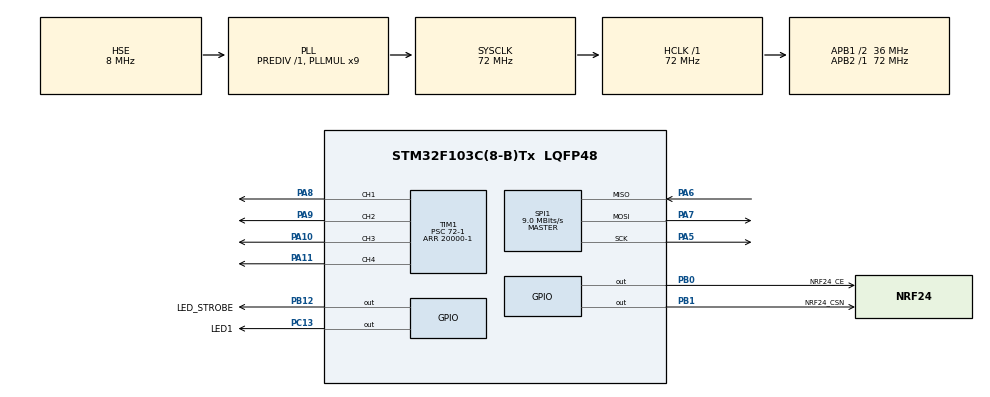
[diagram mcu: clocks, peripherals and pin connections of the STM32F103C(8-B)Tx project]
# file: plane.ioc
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Mcu.Family=STM32F1
Mcu.Name=STM32F103C(8-B)Tx
Mcu.Package=LQFP48
NVIC.PriorityGroup=NVIC_PRIORITYGROUP_4
NVIC.SPI1_IRQn=true\:0\:0\:false\:false\:true\:true\:true
NVIC.TIM3_IRQn=true\:0\:0\:false\:false\:true\:true\:true
PA10.Signal=S_TIM1_CH3
PA11.Signal=S_TIM1_CH4
PA13.Mode=Serial_Wire
PA13.Signal=SYS_JTMS-SWDIO
PA14.Mode=Serial_Wire
PA14.Signal=SYS_JTCK-SWCLK
PA5.Mode=Full_Duplex_Master
PA5.Signal=SPI1_SCK
PA6.Mode=Full_Duplex_Master
PA6.Signal=SPI1_MISO
PA7.Mode=Full_Duplex_Master
PA7.Signal=SPI1_MOSI
PA8.Signal=S_TIM1_CH1
PA9.Signal=S_TIM1_CH2
PB0.GPIO_Label=NRF24_CE
PB0.GPIO_Speed=GPIO_SPEED_FREQ_HIGH
PB0.Signal=GPIO_Output
PB1.GPIO_Label=NRF24_CSN
PB1.GPIO_Speed=GPIO_SPEED_FREQ_HIGH
PB1.Signal=GPIO_Output
PB12.GPIO_Label=LED_STROBE
PB12.PinState=GPIO_PIN_SET
PB12.Signal=GPIO_Output
PC13-TAMPER-RTC.GPIO_Label=LED1
PC13-TAMPER-RTC.Signal=GPIO_Output
PC14-OSC32_IN.Mode=LSE-External-Oscillator
PC14-OSC32_IN.Signal=RCC_OSC32_IN
PC15-OSC32_OUT.Mode=LSE-External-Oscillator
PC15-OSC32_OUT.Signal=RCC_OSC32_OUT
PD0-OSC_IN.Mode=HSE-External-Oscillator
PD0-OSC_IN.Signal=RCC_OSC_IN
PD1-OSC_OUT.Mode=HSE-External-Oscillator
PD1-OSC_OUT.Signal=RCC_OSC_OUT
ProjectManager.HeapSize=0x200
ProjectManager.StackSize=0x400
ProjectManager.TargetToolchain=STM32CubeIDE
RCC.ADCPresc=RCC_ADCPCLK2_DIV6
RCC.AHBFreq_Value=72000000
RCC.APB1CLKDivider=RCC_HCLK_DIV2
RCC.APB1Freq_Value=36000000
RCC.APB1TimFreq_Value=72000000
RCC.APB2Freq_Value=72000000
RCC.APB2TimFreq_Value=72000000
RCC.HCLKFreq_Value=72000000
RCC.PLLMUL=RCC_PLL_MUL9
RCC.PLLSourceVirtual=RCC_PLLSOURCE_HSE
RCC.SYSCLKFreq_VALUE=72000000
RCC.SYSCLKSource=RCC_SYSCLKSOURCE_PLLCLK
RCC.USBFreq_Value=72000000
SH.S_TIM1_CH1.0=TIM1_CH1,PWM Generation1 CH1
SH.S_TIM1_CH2.0=TIM1_CH2,PWM Generation2 CH2
SH.S_TIM1_CH3.0=TIM1_CH3,PWM Generation3 CH3
SH.S_TIM1_CH4.0=TIM1_CH4,PWM Generation4 CH4
SPI1.BaudRatePrescaler=SPI_BAUDRATEPRESCALER_8
SPI1.CLKPolarity=SPI_POLARITY_LOW
SPI1.CalculateBaudRate=9.0 MBits/s
SPI1.DataSize=SPI_DATASIZE_8BIT
SPI1.Direction=SPI_DIRECTION_2LINES
SPI1.Mode=SPI_MODE_MASTER
SPI1.VirtualType=VM_MASTER
TIM1.AutoReloadPreload=TIM_AUTORELOAD_PRELOAD_ENABLE
TIM1.Channel-PWM\ Generation1\ CH1=TIM_CHANNEL_1
TIM1.Channel-PWM\ Generation2\ CH2=TIM_CHANNEL_2
TIM1.Channel-PWM\ Generation3\ CH3=TIM_CHANNEL_3
TIM1.Channel-PWM\ Generation4\ CH4=TIM_CHANNEL_4
TIM1.Period=20000-1
TIM1.Prescaler=72-1
TIM1.Pulse-PWM\ Generation1\ CH1=1500
TIM1.Pulse-PWM\ Generation2\ CH2=1500
TIM1.Pulse-PWM\ Generation3\ CH3=1500
TIM1.Pulse-PWM\ Generation4\ CH4=1500
TIM2.AutoReloadPreload=TIM_AUTORELOAD_PRELOAD_DISABLE
TIM2.Period=0xffff-1
TIM2.Prescaler=72-1
TIM3.AutoReloadPreload=TIM_AUTORELOAD_PRELOAD_ENABLE
TIM3.Period=1000-1
TIM3.Prescaler=7200-1
VP_TIM1_VS_ClockSourceINT.Mode=Internal
VP_TIM2_VS_ClockSourceINT.Mode=Internal
VP_TIM3_VS_ClockSourceINT.Mode=Internal
board=custom

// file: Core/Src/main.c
/* USER CODE BEGIN Header */
/**
  ******************************************************************************
  * @file           : main.c
  * @brief          : Main program body
  ******************************************************************************
  * @attention
  *
  * <h2><center>&copy; Copyright (c) 2024 STMicroelectronics.
  * All rights reserved.</center></h2>
  *
  * This software component is licensed by ST under BSD 3-Clause license,
  * the "License"; You may not use this file except in compliance with the
  * License. You may obtain a copy of the License at:
  *                        opensource.org/licenses/BSD-3-Clause
  *
  ******************************************************************************
  */
/* USER CODE END Header */
#include "main.h"

/* USER CODE BEGIN Includes */
#include "nRF24L01.h"
/* USER CODE END Includes */

SPI_HandleTypeDef hspi1;

TIM_HandleTypeDef htim1;
TIM_HandleTypeDef htim2;
TIM_HandleTypeDef htim3;

/* USER CODE BEGIN PV */

uint8_t RX_ADDRESS[5] = {0xEE, 0xDD, 0xCC, 0xBB, 0xAA};
uint16_t rx_buffer[RX_SIZE/2];

/* USER CODE END PV */

void SystemClock_Config(void);
static void MX_GPIO_Init(void);
static void MX_SPI1_Init(void);
static void MX_TIM1_Init(void);
static void MX_TIM2_Init(void);
static void MX_TIM3_Init(void);

int main(void)
{

  /* MCU Configuration--------------------------------------------------------*/

  /* Reset of all peripherals, Initializes the Flash interface and the Systick. */
  HAL_Init();

  /* Configure the system clock */
  SystemClock_Config();

  /* Initialize all configured peripherals */
  MX_GPIO_Init();
  MX_SPI1_Init();
  MX_TIM1_Init();
  MX_TIM2_Init();
  MX_TIM3_Init();
  /* USER CODE BEGIN 2 */

  HAL_TIM_PWM_Start(&htim1, TIM_CHANNEL_1); // Left aileron
  HAL_TIM_PWM_Start(&htim1, TIM_CHANNEL_2); // Right aileron
  HAL_TIM_PWM_Start(&htim1, TIM_CHANNEL_3); // Elevator
  HAL_TIM_PWM_Start(&htim1, TIM_CHANNEL_4); // Rudder

  HAL_TIM_Base_Start(&htim2); // 1 MHz timer
  HAL_TIM_Base_Start_IT(&htim3); // 1 Hz timer

  HAL_GPIO_TogglePin(LED1_GPIO_Port, LED1_Pin);
  HAL_GPIO_TogglePin(LED1_GPIO_Port, LED1_Pin);

  HAL_Delay(100);
  nrf24_reset();
  nrf24_init();
  nrf24_set_rx_mode(CHANNEL, RX_ADDRESS, PIPE);
  NRF24_StateTypeDef state;
  nrf24_read_state(&state);
  HAL_Delay(100);

  /* USER CODE END 2 */

  /* Infinite loop */
  /* USER CODE BEGIN WHILE */
  while (1)
  {
  	if (nrf24_receive(PIPE, (uint8_t*)rx_buffer, RX_SIZE)) {
  		HAL_GPIO_TogglePin(LED1_GPIO_Port, LED1_Pin);
  	}

  	uint16_t rudder_trim = 100 * rx_buffer[RUDDER_TRIM]/200;
  	uint16_t elevator_trim = 100 * rx_buffer[ELEVATOR_TRIM]/200;

  	SET_LEFT_AILERON(rx_buffer[0]/2);
  	SET_RIGHT_AILERON(rx_buffer[1]/2);
  	SET_ELEVATOR(rx_buffer[2]/2);
  	SET_RUDDER(rx_buffer[3]/2);

    /* USER CODE END WHILE */

  }
}

void SystemClock_Config(void)
{
  RCC_OscInitTypeDef RCC_OscInitStruct = {0};
  RCC_ClkInitTypeDef RCC_ClkInitStruct = {0};

  /** Initializes the RCC Oscillators according to the specified parameters
  * in the RCC_OscInitTypeDef structure.
  */
  RCC_OscInitStruct.OscillatorType = RCC_OSCILLATORTYPE_HSE;
  RCC_OscInitStruct.HSEState = RCC_HSE_ON;
  RCC_OscInitStruct.HSEPredivValue = RCC_HSE_PREDIV_DIV1;
  RCC_OscInitStruct.HSIState = RCC_HSI_ON;
  RCC_OscInitStruct.PLL.PLLState = RCC_PLL_ON;
  RCC_OscInitStruct.PLL.PLLSource = RCC_PLLSOURCE_HSE;
  RCC_OscInitStruct.PLL.PLLMUL = RCC_PLL_MUL9;
  if (HAL_RCC_OscConfig(&RCC_OscInitStruct) != HAL_OK)
  {
    Error_Handler();
  }
  /** Initializes the CPU, AHB and APB buses clocks
  */
  RCC_ClkInitStruct.ClockType = RCC_CLOCKTYPE_HCLK|RCC_CLOCKTYPE_SYSCLK
                              |RCC_CLOCKTYPE_PCLK1|RCC_CLOCKTYPE_PCLK2;
  RCC_ClkInitStruct.SYSCLKSource = RCC_SYSCLKSOURCE_PLLCLK;
  RCC_ClkInitStruct.AHBCLKDivider = RCC_SYSCLK_DIV1;
  RCC_ClkInitStruct.APB1CLKDivider = RCC_HCLK_DIV2;
  RCC_ClkInitStruct.APB2CLKDivider = RCC_HCLK_DIV1;

  if (HAL_RCC_ClockConfig(&RCC_ClkInitStruct, FLASH_LATENCY_2) != HAL_OK)
  {
    Error_Handler();
  }
}

static void MX_SPI1_Init(void)
{

  /* SPI1 parameter configuration*/
  hspi1.Instance = SPI1;
  hspi1.Init.Mode = SPI_MODE_MASTER;
  hspi1.Init.Direction = SPI_DIRECTION_2LINES;
  hspi1.Init.DataSize = SPI_DATASIZE_8BIT;
  hspi1.Init.CLKPolarity = SPI_POLARITY_LOW;
  hspi1.Init.CLKPhase = SPI_PHASE_1EDGE;
  hspi1.Init.NSS = SPI_NSS_SOFT;
  hspi1.Init.BaudRatePrescaler = SPI_BAUDRATEPRESCALER_8;
  hspi1.Init.FirstBit = SPI_FIRSTBIT_MSB;
  hspi1.Init.TIMode = SPI_TIMODE_DISABLE;
  hspi1.Init.CRCCalculation = SPI_CRCCALCULATION_DISABLE;
  hspi1.Init.CRCPolynomial = 10;
  if (HAL_SPI_Init(&hspi1) != HAL_OK)
  {
    Error_Handler();
  }

}

static void MX_TIM1_Init(void)
{

  TIM_ClockConfigTypeDef sClockSourceConfig = {0};
  TIM_MasterConfigTypeDef sMasterConfig = {0};
  TIM_OC_InitTypeDef sConfigOC = {0};
  TIM_BreakDeadTimeConfigTypeDef sBreakDeadTimeConfig = {0};

  htim1.Instance = TIM1;
  htim1.Init.Prescaler = 72-1;
  htim1.Init.CounterMode = TIM_COUNTERMODE_UP;
  htim1.Init.Period = 20000-1;
  htim1.Init.ClockDivision = TIM_CLOCKDIVISION_DIV1;
  htim1.Init.RepetitionCounter = 0;
  htim1.Init.AutoReloadPreload = TIM_AUTORELOAD_PRELOAD_ENABLE;
  if (HAL_TIM_Base_Init(&htim1) != HAL_OK)
  {
    Error_Handler();
  }
  sClockSourceConfig.ClockSource = TIM_CLOCKSOURCE_INTERNAL;
  if (HAL_TIM_ConfigClockSource(&htim1, &sClockSourceConfig) != HAL_OK)
  {
    Error_Handler();
  }
  if (HAL_TIM_PWM_Init(&htim1) != HAL_OK)
  {
    Error_Handler();
  }
  sMasterConfig.MasterOutputTrigger = TIM_TRGO_RESET;
  sMasterConfig.MasterSlaveMode = TIM_MASTERSLAVEMODE_DISABLE;
  if (HAL_TIMEx_MasterConfigSynchronization(&htim1, &sMasterConfig) != HAL_OK)
  {
    Error_Handler();
  }
  sConfigOC.OCMode = TIM_OCMODE_PWM1;
  sConfigOC.Pulse = 1500;
  sConfigOC.OCPolarity = TIM_OCPOLARITY_HIGH;
  sConfigOC.OCNPolarity = TIM_OCNPOLARITY_HIGH;
  sConfigOC.OCFastMode = TIM_OCFAST_DISABLE;
  sConfigOC.OCIdleState = TIM_OCIDLESTATE_RESET;
  sConfigOC.OCNIdleState = TIM_OCNIDLESTATE_RESET;
  if (HAL_TIM_PWM_ConfigChannel(&htim1, &sConfigOC, TIM_CHANNEL_1) != HAL_OK)
  {
    Error_Handler();
  }
  if (HAL_TIM_PWM_ConfigChannel(&htim1, &sConfigOC, TIM_CHANNEL_2) != HAL_OK)
  {
    Error_Handler();
  }
  if (HAL_TIM_PWM_ConfigChannel(&htim1, &sConfigOC, TIM_CHANNEL_3) != HAL_OK)
  {
    Error_Handler();
  }
  if (HAL_TIM_PWM_ConfigChannel(&htim1, &sConfigOC, TIM_CHANNEL_4) != HAL_OK)
  {
    Error_Handler();
  }
  sBreakDeadTimeConfig.OffStateRunMode = TIM_OSSR_DISABLE;
  sBreakDeadTimeConfig.OffStateIDLEMode = TIM_OSSI_DISABLE;
  sBreakDeadTimeConfig.LockLevel = TIM_LOCKLEVEL_OFF;
  sBreakDeadTimeConfig.DeadTime = 0;
  sBreakDeadTimeConfig.BreakState = TIM_BREAK_DISABLE;
  sBreakDeadTimeConfig.BreakPolarity = TIM_BREAKPOLARITY_HIGH;
  sBreakDeadTimeConfig.AutomaticOutput = TIM_AUTOMATICOUTPUT_DISABLE;
  if (HAL_TIMEx_ConfigBreakDeadTime(&htim1, &sBreakDeadTimeConfig) != HAL_OK)
  {
    Error_Handler();
  }
  HAL_TIM_MspPostInit(&htim1);

}

static void MX_TIM2_Init(void)
{

  TIM_ClockConfigTypeDef sClockSourceConfig = {0};
  TIM_MasterConfigTypeDef sMasterConfig = {0};

  htim2.Instance = TIM2;
  htim2.Init.Prescaler = 72-1;
  htim2.Init.CounterMode = TIM_COUNTERMODE_UP;
  htim2.Init.Period = 0xffff-1;
  htim2.Init.ClockDivision = TIM_CLOCKDIVISION_DIV1;
  htim2.Init.AutoReloadPreload = TIM_AUTORELOAD_PRELOAD_DISABLE;
  if (HAL_TIM_Base_Init(&htim2) != HAL_OK)
  {
    Error_Handler();
  }
  sClockSourceConfig.ClockSource = TIM_CLOCKSOURCE_INTERNAL;
  if (HAL_TIM_ConfigClockSource(&htim2, &sClockSourceConfig) != HAL_OK)
  {
    Error_Handler();
  }
  sMasterConfig.MasterOutputTrigger = TIM_TRGO_RESET;
  sMasterConfig.MasterSlaveMode = TIM_MASTERSLAVEMODE_DISABLE;
  if (HAL_TIMEx_MasterConfigSynchronization(&htim2, &sMasterConfig) != HAL_OK)
  {
    Error_Handler();
  }

}

static void MX_TIM3_Init(void)
{

  TIM_ClockConfigTypeDef sClockSourceConfig = {0};
  TIM_MasterConfigTypeDef sMasterConfig = {0};

  htim3.Instance = TIM3;
  htim3.Init.Prescaler = 7200-1;
  htim3.Init.CounterMode = TIM_COUNTERMODE_UP;
  htim3.Init.Period = 1000-1;
  htim3.Init.ClockDivision = TIM_CLOCKDIVISION_DIV1;
  htim3.Init.AutoReloadPreload = TIM_AUTORELOAD_PRELOAD_ENABLE;
  if (HAL_TIM_Base_Init(&htim3) != HAL_OK)
  {
    Error_Handler();
  }
  sClockSourceConfig.ClockSource = TIM_CLOCKSOURCE_INTERNAL;
  if (HAL_TIM_ConfigClockSource(&htim3, &sClockSourceConfig) != HAL_OK)
  {
    Error_Handler();
  }
  sMasterConfig.MasterOutputTrigger = TIM_TRGO_RESET;
  sMasterConfig.MasterSlaveMode = TIM_MASTERSLAVEMODE_DISABLE;
  if (HAL_TIMEx_MasterConfigSynchronization(&htim3, &sMasterConfig) != HAL_OK)
  {
    Error_Handler();
  }

}

static void MX_GPIO_Init(void)
{
  GPIO_InitTypeDef GPIO_InitStruct = {0};

  /* GPIO Ports Clock Enable */
  __HAL_RCC_GPIOC_CLK_ENABLE();
  __HAL_RCC_GPIOD_CLK_ENABLE();
  __HAL_RCC_GPIOA_CLK_ENABLE();
  __HAL_RCC_GPIOB_CLK_ENABLE();

  /*Configure GPIO pin Output Level */
  HAL_GPIO_WritePin(LED1_GPIO_Port, LED1_Pin, GPIO_PIN_RESET);

  /*Configure GPIO pin Output Level */
  HAL_GPIO_WritePin(GPIOB, NRF24_CE_Pin|NRF24_CSN_Pin, GPIO_PIN_RESET);

  /*Configure GPIO pin Output Level */
  HAL_GPIO_WritePin(LED_STROBE_GPIO_Port, LED_STROBE_Pin, GPIO_PIN_SET);

  /*Configure GPIO pin : LED1_Pin */
  GPIO_InitStruct.Pin = LED1_Pin;
  GPIO_InitStruct.Mode = GPIO_MODE_OUTPUT_PP;
  GPIO_InitStruct.Pull = GPIO_NOPULL;
  GPIO_InitStruct.Speed = GPIO_SPEED_FREQ_LOW;
  HAL_GPIO_Init(LED1_GPIO_Port, &GPIO_InitStruct);

  /*Configure GPIO pins : NRF24_CE_Pin NRF24_CSN_Pin */
  GPIO_InitStruct.Pin = NRF24_CE_Pin|NRF24_CSN_Pin;
  GPIO_InitStruct.Mode = GPIO_MODE_OUTPUT_PP;
  GPIO_InitStruct.Pull = GPIO_NOPULL;
  GPIO_InitStruct.Speed = GPIO_SPEED_FREQ_HIGH;
  HAL_GPIO_Init(GPIOB, &GPIO_InitStruct);

  /*Configure GPIO pin : LED_STROBE_Pin */
  GPIO_InitStruct.Pin = LED_STROBE_Pin;
  GPIO_InitStruct.Mode = GPIO_MODE_OUTPUT_PP;
  GPIO_InitStruct.Pull = GPIO_NOPULL;
  GPIO_InitStruct.Speed = GPIO_SPEED_FREQ_LOW;
  HAL_GPIO_Init(LED_STROBE_GPIO_Port, &GPIO_InitStruct);

}

/* USER CODE BEGIN 4 */

uint32_t blink_counter = 0;
uint32_t prev_count = 0;
uint8_t blink_flag = 1;
uint8_t blink_flag_2 = 0;

void HAL_TIM_PeriodElapsedCallback(TIM_HandleTypeDef *htim)
{
	if (!(blink_counter % 11) || blink_flag) {
		HAL_GPIO_TogglePin(LED_STROBE_GPIO_Port, LED_STROBE_Pin);
		blink_flag ^= 1;
		prev_count = blink_counter;
	}
	else if (blink_counter - 1 == prev_count || blink_flag_2) {
		HAL_GPIO_TogglePin(LED_STROBE_GPIO_Port, LED_STROBE_Pin);
		blink_flag_2 ^= 1;
	}

	blink_counter++;
}

/* USER CODE END 4 */

void Error_Handler(void)
{
  __disable_irq();
  while (1)
  {
  }
}

/************************ (C) COPYRIGHT STMicroelectronics *****END OF FILE****/
